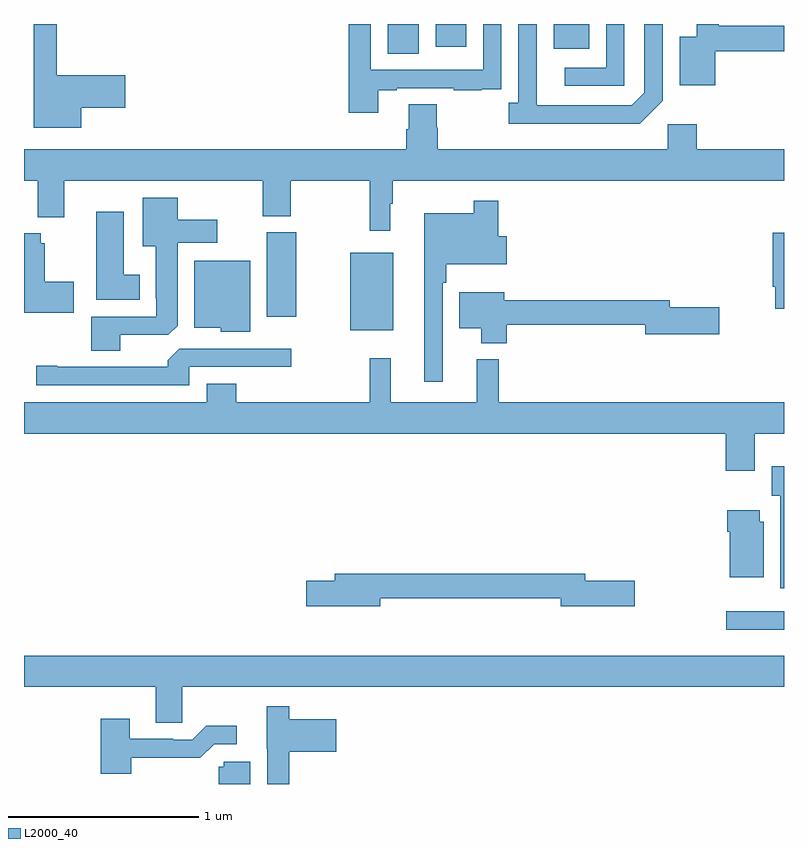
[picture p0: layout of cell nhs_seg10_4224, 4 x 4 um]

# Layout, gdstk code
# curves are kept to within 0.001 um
import gdstk
lib = gdstk.Library(unit=1e-6, precision=1e-09)
def R(c, l, rs):  # rectangles x0, y0, x1, y1
    for r in rs: c.add(gdstk.rectangle(r[:2], r[2:], *l))
def P(c, l, *ps):  # polygons
    for p in ps: c.add(gdstk.Polygon(p, *l))
L2000_40 = (2000, 40)

nhs_seg10_4224 = lib.new_cell('nhs_seg10_4224')
R(nhs_seg10_4224, L2000_40, [(350.697,1271.312,351,1271.409), (348.716,1272.887,348.943,1273.297), (348.278,1272.96,348.433,1273.404), (348.914,1274.344,349.078,1274.5), (349.787,1274.369,349.975,1274.5), (349.166,1274.379,349.327,1274.5)])
P(nhs_seg10_4224, L2000_40, [(350.361,1274.097),(350.361,1274.5),(350.265,1274.5),(350.265,1274.139),(350.199,1274.073),(349.699,1274.073),(349.698,1274.5),(349.602,1274.5),(349.602,1274.086),(349.551,1274.086),(349.551,1273.976),(350.24,1273.976)],
  [(350.637,1274.356),(351,1274.356),(351,1274.492),(350.657,1274.492),(350.657,1274.5),(350.54,1274.5),(350.54,1274.434),(350.45,1274.434),(350.45,1274.177),(350.637,1274.177)],
  [(347.302,1274.06),(347.533,1274.06),(347.533,1274.231),(347.173,1274.231),(347.173,1274.5),(347.051,1274.5),(347.051,1273.955),(347.302,1273.955)],
  [(350.16,1274.5),(350.064,1274.5),(350.064,1274.271),(349.845,1274.271),(349.845,1274.175),(350.16,1274.175)],
  [(348.865,1274.151),(348.961,1274.151),(348.961,1274.163),(349.261,1274.163),(349.261,1274.151),(349.409,1274.151),(349.409,1274.157),(349.511,1274.157),(349.511,1274.266),(349.512,1274.266),(349.512,1274.5),(349.416,1274.5),(349.416,1274.259),(348.825,1274.259),(348.825,1274.5),(348.709,1274.5),(348.709,1274.034),(348.865,1274.034)],
  [(348.928,1273.553),(348.94,1273.553),(348.94,1273.676),(351,1273.676),(351,1273.84),(350.54,1273.84),(350.54,1273.972),(350.388,1273.972),(350.388,1273.84),(349.178,1273.84),(349.178,1273.953),(349.173,1273.953),(349.173,1274.078),(349.025,1274.078),(349.025,1273.946),(349.013,1273.946),(349.013,1273.84),(347,1273.84),(347,1273.676),(347.072,1273.676),(347.072,1273.484),(347.212,1273.484),(347.212,1273.676),(348.257,1273.676),(348.257,1273.489),(348.405,1273.489),(348.405,1273.676),(348.819,1273.676),(348.819,1273.413),(348.928,1273.413)],
  [(347.506,1272.864),(347.76,1272.864),(347.809,1272.913),(347.809,1273.349),(348.016,1273.349),(348.016,1273.471),(347.809,1273.471),(347.809,1273.585),(347.624,1273.585),(347.624,1273.331),(347.693,1273.331),(347.693,1273.057),(347.697,1273.057),(347.697,1272.96),(347.354,1272.96),(347.354,1272.781),(347.506,1272.781)],
  [(349.203,1273.139),(349.223,1273.139),(349.223,1273.235),(349.54,1273.235),(349.54,1273.383),(349.496,1273.383),(349.496,1273.57),(349.368,1273.57),(349.368,1273.504),(349.106,1273.504),(349.106,1272.618),(349.203,1272.618)],
  [(347.608,1273.18),(347.524,1273.18),(347.524,1273.513),(347.381,1273.513),(347.381,1273.049),(347.608,1273.049)],
  [(351,1273.402),(350.942,1273.402),(350.942,1273.117),(350.954,1273.117),(350.954,1273.001),(351,1273.001)],
  [(347.263,1273.143),(347.11,1273.143),(347.11,1273.345),(347.088,1273.345),(347.088,1273.399),(347,1273.399),(347,1272.98),(347.263,1272.98)],
  [(348.19,1273.255),(347.897,1273.255),(347.897,1272.902),(348.036,1272.902),(348.036,1272.881),(348.19,1272.881)],
  [(349.541,1272.918),(350.27,1272.918),(350.27,1272.868),(350.659,1272.868),(350.659,1273.01),(350.398,1273.01),(350.398,1273.046),(349.528,1273.046),(349.528,1273.087),(349.292,1273.087),(349.292,1272.899),(349.406,1272.899),(349.406,1272.821),(349.541,1272.821)],
  [(347.871,1272.696),(348.406,1272.696),(348.406,1272.792),(347.817,1272.792),(347.756,1272.73),(347.756,1272.696),(347.176,1272.696),(347.176,1272.701),(347.064,1272.701),(347.064,1272.6),(347.871,1272.6)],
  [(350.845,1272.344),(351,1272.344),(351,1272.508),(349.499,1272.508),(349.499,1272.736),(349.382,1272.736),(349.382,1272.508),(348.929,1272.508),(348.929,1272.742),(348.819,1272.742),(348.819,1272.508),(348.116,1272.508),(348.116,1272.607),(347.963,1272.607),(347.963,1272.508),(347,1272.508),(347,1272.344),(350.693,1272.344),(350.693,1272.15),(350.845,1272.15)],
  [(351,1272.172),(350.936,1272.172),(350.936,1272.018),(350.981,1272.018),(350.981,1271.529),(351,1271.529)],
  [(350.893,1271.88),(350.872,1271.88),(350.872,1271.941),(350.702,1271.941),(350.702,1271.828),(350.714,1271.828),(350.714,1271.588),(350.893,1271.588)],
  [(348.874,1271.478),(349.826,1271.478),(349.826,1271.435),(350.215,1271.435),(350.215,1271.57),(349.954,1271.57),(349.954,1271.606),(348.635,1271.606),(348.635,1271.57),(348.486,1271.57),(348.486,1271.435),(348.874,1271.435)],
  [(347.832,1271.012),(351,1271.012),(351,1271.176),(347,1271.176),(347,1271.012),(347.693,1271.012),(347.693,1270.822),(347.832,1270.822)],
  [(348.395,1270.67),(348.643,1270.67),(348.643,1270.84),(348.395,1270.84),(348.395,1270.909),(348.278,1270.909),(348.278,1270.686),(348.279,1270.686),(348.279,1270.5),(348.395,1270.5)],
  [(347.565,1270.638),(347.927,1270.637),(348,1270.71),(348.121,1270.71),(348.121,1270.807),(347.959,1270.807),(347.886,1270.734),(347.786,1270.734),(347.786,1270.737),(347.557,1270.737),(347.557,1270.843),(347.405,1270.843),(347.405,1270.553),(347.565,1270.553)],
  [(348.19,1270.617),(348.051,1270.617),(348.051,1270.59),(348.026,1270.59),(348.026,1270.5),(348.19,1270.5)])

lib.write_gds('nhs_seg10_4224.gds')
